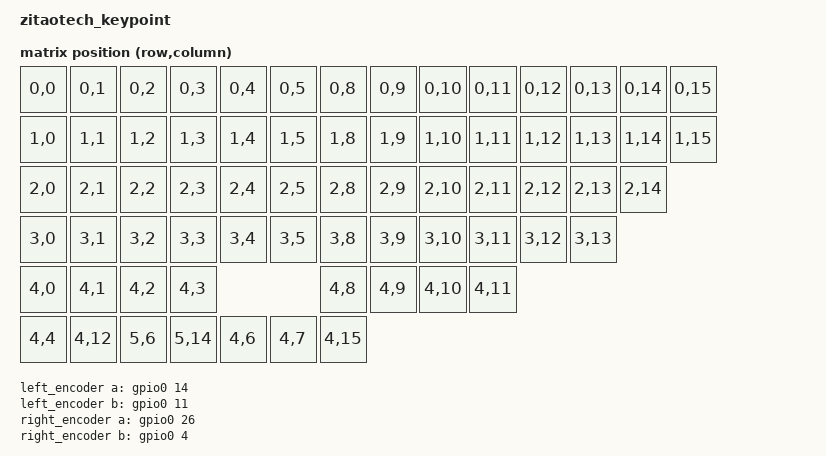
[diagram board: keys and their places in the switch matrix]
/*
 * Copyright (c) 2023 ZitaoTech
 *
 * SPDX-License-Identifier: MIT
 */

/dts-v1/;
#include <nordic/nrf52840_qiaa.dtsi>

#include <dt-bindings/led/led.h>
#include <dt-bindings/zmk/matrix_transform.h>
#include "zitaotech_keypoint-layouts.dtsi"


/ {
    model = "zitaotech_keypoint";
    compatible = "ZitaoTech,zitaotech-keypoint";

    chosen {
        zephyr,code-partition = &code_partition;
        zephyr,sram = &sram0;
        zephyr,flash = &flash0;
        zephyr,console = &cdc_acm_uart;
        zmk,kscan = &kscan0;
        zmk,physical-layouts = &zitaotech_keypoint_layout;
        zmk,studio-rpc-uart = &cdc_acm_uart;
    };

    /*
     * Programmer-oriented 60% class layout.
     *
     * Logical order follows a conventional ANSI 60% base layer first:
     *   14-key number row
     *   14-key Q row
     *   13-key A row
     *   12-key Z row
     *    8-key modifier row
     *
     * Then seven KEYPOINT extras are appended:
     *   Grave/Tilde, second Space, L/R mouse click,
     *   pointer-scroll modifier, pointer-arrow modifier, slow-pointer modifier.
     *
     * A strict 61-key 60% normally multiplexes Grave/Escape on many boards.
     * This variant keeps BOTH directly accessible on layer 0 for programming.
     *
     * No additional MCU GPIOs are required: all added switches use otherwise
     * unused intersections of the existing 6x8 matrix on each half.
     */
    default_transform: keymap_transform_0 {
        compatible = "zmk,matrix-transform";
        columns = <16>;
        rows = <6>;
        map = <
/* ANSI row 0: Esc 1 2 3 4 5 | 6 7 8 9 0 - = Backspace */
RC(0,0) RC(0,1) RC(0,2) RC(0,3) RC(0,4) RC(0,5)   RC(0,8) RC(0,9) RC(0,10) RC(0,11) RC(0,12) RC(0,13) RC(0,14) RC(0,15)
/* ANSI row 1: Tab Q W E R T | Y U I O P [ ] \ */
RC(1,0) RC(1,1) RC(1,2) RC(1,3) RC(1,4) RC(1,5)   RC(1,8) RC(1,9) RC(1,10) RC(1,11) RC(1,12) RC(1,13) RC(1,14) RC(1,15)
/* ANSI row 2: Caps A S D F G | H J K L ; ' Enter */
RC(2,0) RC(2,1) RC(2,2) RC(2,3) RC(2,4) RC(2,5)   RC(2,8) RC(2,9) RC(2,10) RC(2,11) RC(2,12) RC(2,13) RC(2,14)
/* ANSI row 3: LShift Z X C V B | N M , . / RShift */
RC(3,0) RC(3,1) RC(3,2) RC(3,3) RC(3,4) RC(3,5)   RC(3,8) RC(3,9) RC(3,10) RC(3,11) RC(3,12) RC(3,13)
/* ANSI-style bottom row: LCtrl LGUI LAlt Space | RAlt Fn RGUI RCtrl */
RC(4,0) RC(4,1) RC(4,2) RC(4,3)                   RC(4,8) RC(4,9) RC(4,10) RC(4,11)
/* KEYPOINT extras */
RC(4,4) RC(4,12) RC(5,6) RC(5,14) RC(4,6) RC(4,7) RC(4,15)
        >;
    };

left_encoder: encoder_left {
        compatible = "alps,ec11";
        a-gpios = <&gpio0 14 (GPIO_ACTIVE_HIGH | GPIO_OPEN_DRAIN)>;
        b-gpios = <&gpio0 11 (GPIO_ACTIVE_HIGH | GPIO_OPEN_DRAIN)>;
        resolution = <4>;
        steps = <20>;
        status = "disabled";
     };

right_encoder: encoder_right {
        compatible = "alps,ec11";
        a-gpios = <&gpio0 26 (GPIO_ACTIVE_HIGH | GPIO_OPEN_DRAIN)>;
        b-gpios = <&gpio0 4 (GPIO_ACTIVE_HIGH | GPIO_OPEN_DRAIN)>;
        resolution = <4>;
        steps = <20>;
        status = "disabled";
     };

     sensors: sensors {
        compatible = "zmk,keymap-sensors";
        sensors = <&left_encoder &right_encoder>;
        triggers-per-rotation = <5>;
    };

};


&usbd {
    status = "okay";
    cdc_acm_uart: cdc_acm_uart {
        compatible = "zephyr,cdc-acm-uart";
    };
};

&zitaotech_keypoint_layout{
    transform = <&default_transform>;
    kscan = <&kscan0>;
};

zephyr_udc0: &usbd {
    compatible = "nordic,nrf-usbd";
    status = "okay";
};

&flash0 {
    partitions {
        compatible = "fixed-partitions";
        #address-cells = <1>;
        #size-cells = <1>;

        sd_partition: partition@0 {
            reg = <0x00000000 0x00001000>;
        };

        code_partition: partition@1000 {
            reg = <0x00001000 0x000d3000>;
        };

        storage_partition: partition@d4000 {
            reg = <0x000d4000 0x00020000>;
        };

        boot_partition: partition@f4000 {
            reg = <0x000f4000 0x0000c000>;
        };
    };
};
